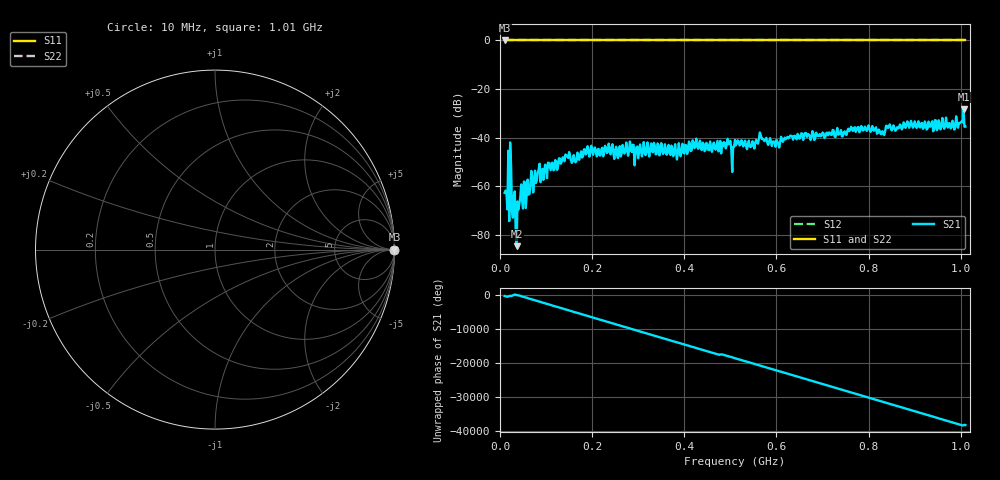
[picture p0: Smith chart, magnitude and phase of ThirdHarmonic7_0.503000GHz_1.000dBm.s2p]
! 8/17/2025 2:26:13 PM
! C:\ANRITSUVNA\TEMP\TEMP.S2P
! CHANNEL.1
! TR.MEASUREMENT
! RAW.DATA
! RF.CORRECTION.OFF
! AVERAGING.OFF
! IF.BANDWIDTH: 5KHZ
! SWEEPTYPE:  FREQ.SWEEP(Linear)
! Reference Plane Port Info
! PORT:  PORT1  PORT2
! DISTANCE:  0  m  0  m
! TIME:  0  s  0  s
! PHASE.OFFSET:  0  deg.  0  deg.
! LOSS:  0  dB  0  dB
! REF.LOSS:  0  dB  0  dB
! REF.FREQ:  0  Hz  0  Hz
! Power Info
! POWER:  -20  dBm  -20  dBm
! EFF.POWER:  -20  dBm  -20  dBm
! SOURCE.ATTEN:  0  dB  0  dB
! TEST.ATTEN:  0  dB  0  dB
# GHZ S RI R 50.0
! FREQ.GHZ  S11RE  S11IM  S21RE  S21IM  S12RE  S12IM  S22RE  S22IM
!; PortSelection: Port_12
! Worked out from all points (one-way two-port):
!   501 points, 10 MHz to 1.01 GHz, reference 50 ohm
!   highest |S21| = -28.18 dB at 1.006 GHz (marker M1); lowest = -84.6 dB at 36 MHz (marker M2)
!   lowest |S11| = 0.0 dB at 10 MHz (marker M3)
!   |S11| at or under -10 dB: nowhere
!   |S22| runs from 0.0 to 0.0 dB; largest |S21 - S12| = 1
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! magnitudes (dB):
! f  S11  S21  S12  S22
! 10 MHz  0.0  -62.6  0.0  0.0
! 16 MHz  0.0  -69.5  0.0  0.0
! 22 MHz  0.0  -41.9  0.0  0.0
! 24 MHz  0.0  -51.5  0.0  0.0
! 26 MHz  0.0  -70.2  0.0  0.0
! 30 MHz  0.0  -64.1  0.0  0.0
! 36 MHz  0.0  -84.6  0.0  0.0
! 50 MHz  0.0  -69.1  0.0  0.0
! 60 MHz  0.0  -57.2  0.0  0.0
! 64 MHz  0.0  -63.2  0.0  0.0
! 86 MHz  0.0  -50.7  0.0  0.0
! 178 MHz  0.0  -48.1  0.0  0.0
! 344 MHz  0.0  -43.0  0.0  0.0
! 496 MHz  0.0  -42.6  0.0  0.0
! 504 MHz  0.0  -54.1  0.0  0.0
! 510 MHz  0.0  -40.9  0.0  0.0
! 678 MHz  0.0  -37.3  0.0  0.0
! 766 MHz  0.0  -37.2  0.0  0.0
! 830 MHz  0.0  -37.3  0.0  0.0
! 844 MHz  0.0  -35.2  0.0  0.0
! 1.006 GHz  0.0  -28.2  0.0  0.0
! 1.01 GHz  0.0  -35.4  0.0  0.0
